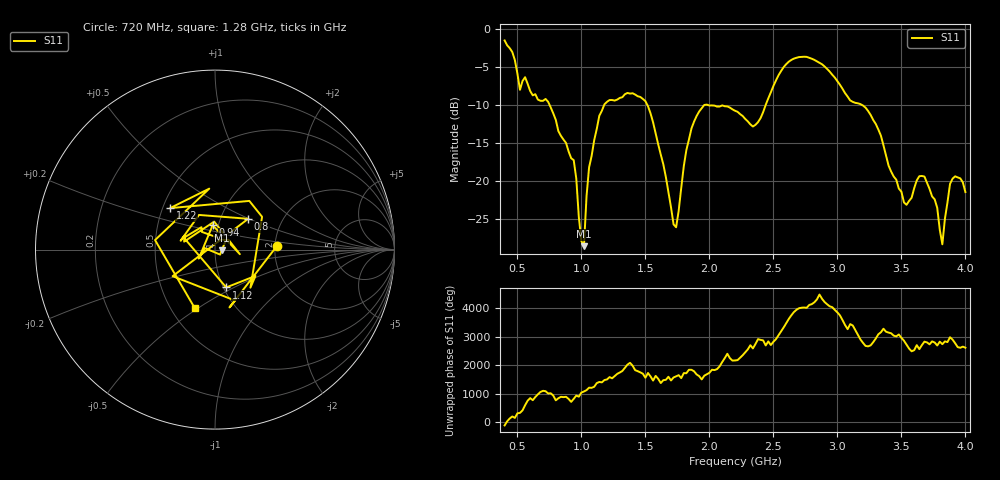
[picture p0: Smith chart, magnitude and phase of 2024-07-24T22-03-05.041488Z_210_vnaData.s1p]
!Created with skrf (http://scikit-rf.org).
# Hz S RI R 50.0
!freq ReS11 ImS11
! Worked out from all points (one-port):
!   181 points, 400 MHz to 4 GHz, reference 50 ohm
!   lowest |S11| = -28.6 dB at 1.02 GHz (marker M1), VSWR 1.08, Z = 53.8 - j0.49 ohm
!   |S11| at or under -10 dB: 1.515 GHz to 1.959 GHz (444 MHz wide, 25.6 % of centre); 1.989 GHz to 2.44 GHz (450.8 MHz wide, 20.4 % of centre); 3.193 GHz to end of sweep (the widest 3 of 4)
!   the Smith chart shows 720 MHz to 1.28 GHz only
!   S11 on the Smith chart (normalised r, x): 720 MHz: 2.05, +0.10; 800 MHz: 1.35, +0.49; 940 MHz: 0.94, +0.26; 1.12 GHz: 1.03, -0.46; 1.22 GHz: 0.55, +0.29; 1.28 GHz: 0.66, -0.48
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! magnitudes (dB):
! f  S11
! 400 MHz  -1.5
! 520 MHz  -8.0
! 720 MHz  -9.2
! 800 MHz  -12.0
! 860 MHz  -14.6
! 940 MHz  -17.3
! 1.02 GHz  -28.6
! 1.06 GHz  -18.2
! 1.12 GHz  -13.2
! 1.22 GHz  -9.3
! 1.28 GHz  -9.3
! 1.3 GHz  -9.1
! 1.5 GHz  -9.5
! 1.72 GHz  -25.8
! 1.76 GHz  -24.0
! 1.82 GHz  -15.9
! 1.92 GHz  -10.9
! 2.2 GHz  -10.8
! 2.36 GHz  -12.6
! 2.66 GHz  -3.9
! 3.1 GHz  -9.4
! 3.26 GHz  -11.3
! 3.56 GHz  -22.7
! 3.68 GHz  -19.4
! 3.78 GHz  -23.6
! 3.82 GHz  -28.4
! 3.88 GHz  -20.4
! 4 GHz  -21.5
